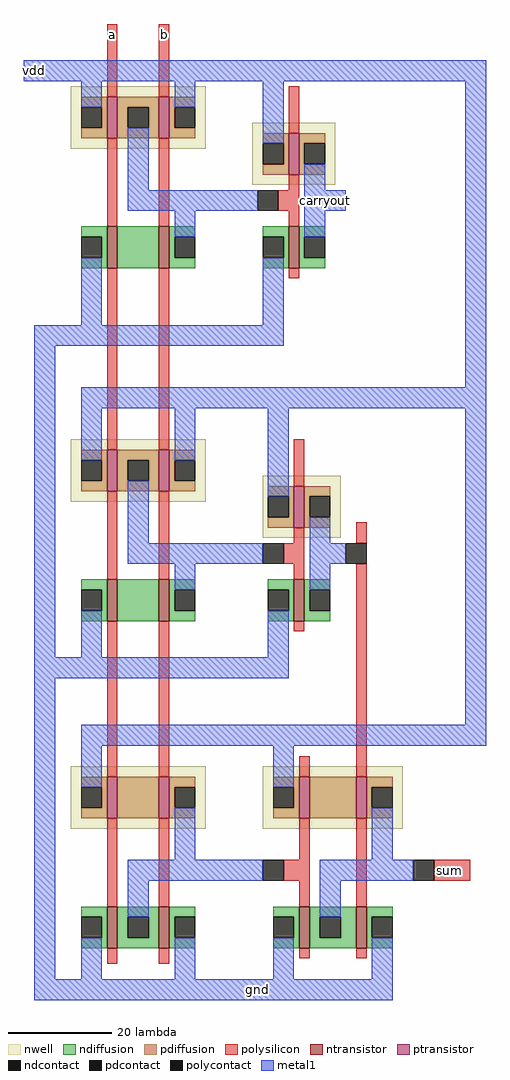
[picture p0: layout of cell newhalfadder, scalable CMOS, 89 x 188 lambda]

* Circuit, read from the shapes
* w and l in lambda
.subckt newhalfadder a b carryout gnd sum vdd
M1 n1 a gnd VSUBS nfet w=8 l=2
M2 n2 a gnd VSUBS nfet w=8 l=2
M3 n3 a gnd VSUBS nfet w=8 l=2
M4 gnd b n1 VSUBS nfet w=8 l=2
M5 n4 b n2 VSUBS nfet w=8 l=2
M6 n5 b n3 VSUBS nfet w=8 l=2
M7 carryout n5 gnd VSUBS nfet w=8 l=2
M8 n6 n4 gnd VSUBS nfet w=8 l=2
M9 sum n1 gnd VSUBS nfet w=8 l=2
M10 gnd n6 sum VSUBS nfet w=8 l=2
M11 n7 a vdd n8 pfet w=8 l=2
M12 n4 a vdd n9 pfet w=8 l=2
M13 n5 a vdd n10 pfet w=8 l=2
M14 n1 b n7 n8 pfet w=8 l=2
M15 vdd b n4 n9 pfet w=8 l=2
M16 vdd b n5 n10 pfet w=8 l=2
M17 carryout n5 vdd n11 pfet w=8 l=2
M18 n6 n4 vdd n12 pfet w=8 l=2
M19 n13 n1 vdd n14 pfet w=8 l=2
M20 sum n6 n13 n14 pfet w=8 l=2
.ends

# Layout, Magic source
magic
tech scmos
<< nwell >>
rect -1 23 25 35
rect 34 16 50 28
rect -1 -45 25 -33
rect 36 -52 51 -40
rect -1 -108 25 -96
rect 36 -108 63 -96
<< polysilicon >>
rect 6 33 8 47
rect 16 33 18 47
rect 41 26 43 35
rect 6 8 8 25
rect 16 8 18 25
rect 41 15 43 18
rect 39 11 43 15
rect 41 8 43 11
rect 6 -35 8 0
rect 16 -35 18 0
rect 41 -2 43 0
rect 42 -42 44 -33
rect 6 -60 8 -43
rect 16 -60 18 -43
rect 42 -53 44 -50
rect 54 -53 56 -49
rect 40 -57 44 -53
rect 42 -60 44 -57
rect 6 -98 8 -68
rect 16 -98 18 -68
rect 42 -70 44 -68
rect 43 -98 45 -94
rect 54 -98 56 -57
rect 6 -123 8 -106
rect 16 -123 18 -106
rect 43 -114 45 -106
rect 40 -118 45 -114
rect 43 -123 45 -118
rect 54 -123 56 -106
rect 69 -118 76 -114
rect 6 -134 8 -131
rect 16 -134 18 -131
rect 43 -133 45 -131
rect 54 -133 56 -131
<< ndiffusion >>
rect 1 6 6 8
rect 5 2 6 6
rect 1 0 6 2
rect 8 0 16 8
rect 18 6 23 8
rect 18 2 19 6
rect 18 0 23 2
rect 36 6 41 8
rect 40 2 41 6
rect 36 0 41 2
rect 43 6 48 8
rect 43 2 44 6
rect 43 0 48 2
rect 1 -62 6 -60
rect 5 -66 6 -62
rect 1 -68 6 -66
rect 8 -68 16 -60
rect 18 -62 23 -60
rect 18 -66 19 -62
rect 18 -68 23 -66
rect 37 -62 42 -60
rect 41 -66 42 -62
rect 37 -68 42 -66
rect 44 -62 49 -60
rect 44 -66 45 -62
rect 44 -68 49 -66
rect 1 -125 6 -123
rect 5 -129 6 -125
rect 1 -131 6 -129
rect 8 -125 16 -123
rect 8 -129 10 -125
rect 14 -129 16 -125
rect 8 -131 16 -129
rect 18 -125 23 -123
rect 18 -129 19 -125
rect 18 -131 23 -129
rect 38 -125 43 -123
rect 42 -129 43 -125
rect 38 -131 43 -129
rect 45 -125 54 -123
rect 45 -129 47 -125
rect 51 -129 54 -125
rect 45 -131 54 -129
rect 56 -125 61 -123
rect 56 -129 57 -125
rect 56 -131 61 -129
<< pdiffusion >>
rect 1 31 6 33
rect 5 27 6 31
rect 1 25 6 27
rect 8 31 16 33
rect 8 27 10 31
rect 14 27 16 31
rect 8 25 16 27
rect 18 31 23 33
rect 18 27 19 31
rect 18 25 23 27
rect 36 24 41 26
rect 40 20 41 24
rect 36 18 41 20
rect 43 24 48 26
rect 43 20 44 24
rect 43 18 48 20
rect 1 -37 6 -35
rect 5 -41 6 -37
rect 1 -43 6 -41
rect 8 -37 16 -35
rect 8 -41 10 -37
rect 14 -41 16 -37
rect 8 -43 16 -41
rect 18 -37 23 -35
rect 18 -41 19 -37
rect 18 -43 23 -41
rect 37 -44 42 -42
rect 41 -48 42 -44
rect 37 -50 42 -48
rect 44 -44 49 -42
rect 44 -48 45 -44
rect 44 -50 49 -48
rect 1 -100 6 -98
rect 5 -104 6 -100
rect 1 -106 6 -104
rect 8 -106 16 -98
rect 18 -100 23 -98
rect 18 -104 19 -100
rect 18 -106 23 -104
rect 38 -100 43 -98
rect 42 -104 43 -100
rect 38 -106 43 -104
rect 45 -106 54 -98
rect 56 -100 61 -98
rect 56 -104 57 -100
rect 56 -106 61 -104
<< metal1 >>
rect -10 36 79 40
rect 1 31 5 36
rect 19 31 23 36
rect 10 15 14 27
rect 36 24 40 36
rect 44 15 48 20
rect 10 11 35 15
rect 44 11 52 15
rect 19 6 23 11
rect 44 6 48 11
rect 1 -11 5 2
rect 36 -11 40 2
rect -8 -15 40 -11
rect -8 -75 -4 -15
rect 75 -23 79 36
rect 1 -27 79 -23
rect 1 -37 5 -27
rect 19 -37 23 -27
rect 10 -53 14 -41
rect 37 -44 41 -27
rect 45 -53 49 -48
rect 10 -57 36 -53
rect 45 -57 52 -53
rect 19 -62 23 -57
rect 45 -62 49 -57
rect 1 -75 5 -66
rect 37 -75 41 -66
rect -8 -79 41 -75
rect -8 -137 -4 -79
rect 75 -88 79 -27
rect 1 -92 79 -88
rect 1 -100 5 -92
rect 38 -100 42 -92
rect 19 -114 23 -104
rect 57 -114 61 -104
rect 10 -118 36 -114
rect 47 -118 65 -114
rect 10 -125 14 -118
rect 47 -125 51 -118
rect 1 -137 5 -129
rect 19 -137 23 -129
rect 38 -137 42 -129
rect 57 -137 61 -129
rect -8 -141 61 -137
<< ntransistor >>
rect 6 0 8 8
rect 16 0 18 8
rect 41 0 43 8
rect 6 -68 8 -60
rect 16 -68 18 -60
rect 42 -68 44 -60
rect 6 -131 8 -123
rect 16 -131 18 -123
rect 43 -131 45 -123
rect 54 -131 56 -123
<< ptransistor >>
rect 6 25 8 33
rect 16 25 18 33
rect 41 18 43 26
rect 6 -43 8 -35
rect 16 -43 18 -35
rect 42 -50 44 -42
rect 6 -106 8 -98
rect 16 -106 18 -98
rect 43 -106 45 -98
rect 54 -106 56 -98
<< polycontact >>
rect 35 11 39 15
rect 36 -57 40 -53
rect 52 -57 56 -53
rect 36 -118 40 -114
rect 65 -118 69 -114
<< ndcontact >>
rect 1 2 5 6
rect 19 2 23 6
rect 36 2 40 6
rect 44 2 48 6
rect 1 -66 5 -62
rect 19 -66 23 -62
rect 37 -66 41 -62
rect 45 -66 49 -62
rect 1 -129 5 -125
rect 10 -129 14 -125
rect 19 -129 23 -125
rect 38 -129 42 -125
rect 47 -129 51 -125
rect 57 -129 61 -125
<< pdcontact >>
rect 1 27 5 31
rect 10 27 14 31
rect 19 27 23 31
rect 36 20 40 24
rect 44 20 48 24
rect 1 -41 5 -37
rect 10 -41 14 -37
rect 19 -41 23 -37
rect 37 -48 41 -44
rect 45 -48 49 -44
rect 1 -104 5 -100
rect 19 -104 23 -100
rect 38 -104 42 -100
rect 57 -104 61 -100
<< labels >>
rlabel metal1 -8 38 -8 38 3 vdd
rlabel polysilicon 7 45 7 45 5 a
rlabel polysilicon 17 45 17 45 5 b
rlabel metal1 35 -139 35 -139 1 gnd
rlabel polysilicon 72 -116 72 -116 1 sum
rlabel metal1 48 13 48 13 1 carryout
<< end >>
